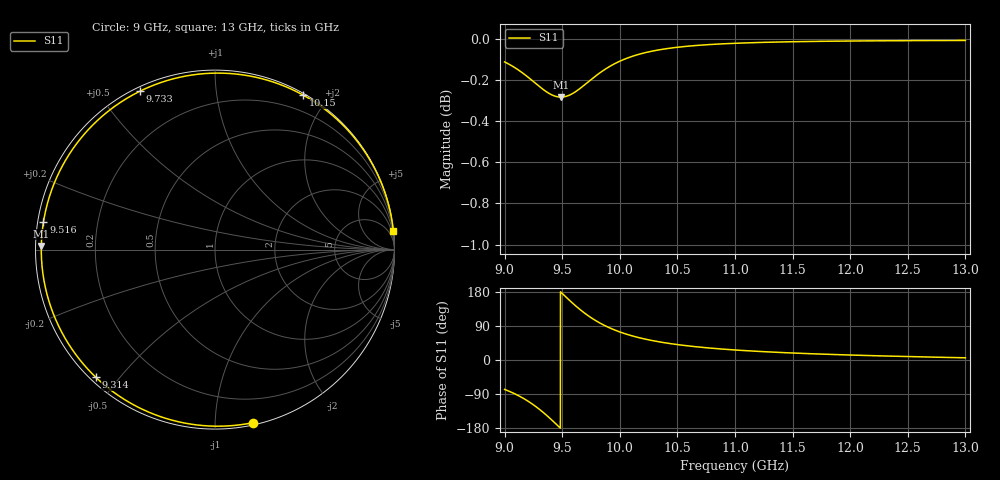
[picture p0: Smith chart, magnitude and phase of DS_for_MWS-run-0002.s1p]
! TOUCHSTONE file generated by CST DESIGN STUDIO
! Date and time: Tue Feb  4 17:30:52 2025
! Project name: C:\Work\MatlabApps\UnitCellOptimizationMatlab\CST\unitcell.cst
! Tree item: Tasks\Sweep1\SPara1\S-Parameters
! Header version: 2024
! Port assignment regex: !\s*Touchstone port\s*([0-9]+)\s*=\s*(CST MWS port|CST DES external port|CST DES block port)\s*(.+)\s* \(\"(.*)\"\)(\s*mode\s*([0-9]+))?.*
! Touchstone port assignment:
! Touchstone port 1 = CST DES external port 1 ("")
# GHz S MA R 50
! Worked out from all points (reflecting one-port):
!   4001 points, 9 GHz to 13 GHz, reference 50 ohm
!   lowest |S11| = -0.3 dB at 9.489 GHz (marker M1), VSWR 61.39, Z = 0.815 + j0.535 ohm
!   phase of S11 starts at -78 deg and turns -277 deg over the sweep
!   S11 on the Smith chart (normalised r, x): 9 GHz: 0.02, -1.24; 9.314 GHz: 0.02, -0.43; 9.516 GHz: 0.02, +0.08; 9.733 GHz: 0.02, +0.63; 10.15 GHz: 0.02, +1.73; 13 GHz: 0, +20
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9  0.9872 -77.6
9.08  0.9844 -88.0
9.179  0.98 -104.1
9.249  0.9765 -118.0
9.314  0.9731 -133.0
9.36  0.971 -144.8
9.409  0.9692 -158.2
9.45  0.9682 -169.9
9.489  0.9679 178.8
9.5  0.968 175.6
9.516  0.9681 170.9
9.569  0.9692 155.8
9.629  0.9714 139.7
9.68  0.9739 127.1
9.733  0.9766 115.3
9.787  0.9793 104.6
9.847  0.9821 94.3
9.923  0.9851 83.3
10  0.9876 74.0
10.15  0.9911 60.2
10.309  0.9935 49.7
10.5  0.9953 40.7
10.722  0.9966 33.1
11  0.9975 26.4
11.5  0.9984 18.4
12  0.9988 13.1
12.5  0.999 9.1
13  0.9991 5.8
